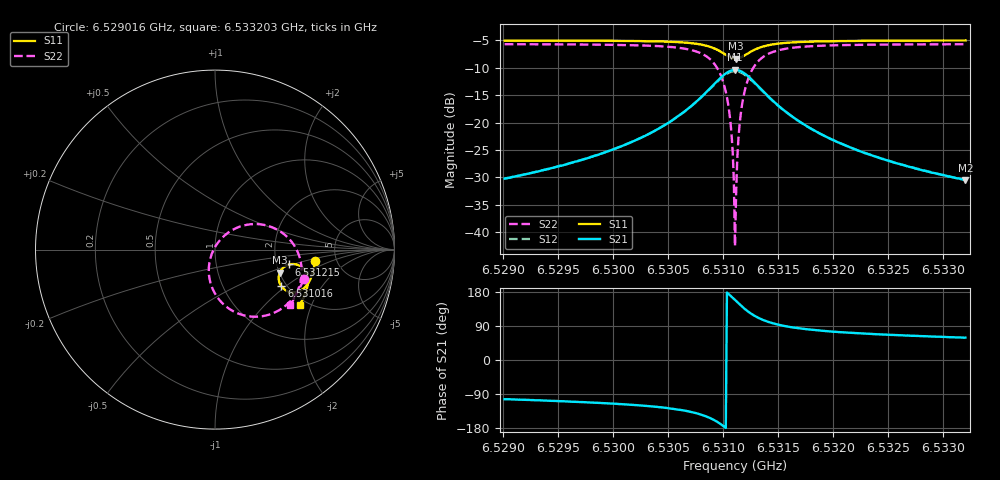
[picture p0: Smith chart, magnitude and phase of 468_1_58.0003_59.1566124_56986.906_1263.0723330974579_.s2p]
#  HZ  S  RI  R  50.00
! Rohde & Schwarz Vector Network Analyzer
! Rohde-Schwarz,ZNB20-2Port,1311601062101988,3.16
! Created: UTC 3/21/2024, 1:11:14 AM
! freq[Hz]  re:S11  im:S11  re:S21  im:S21  re:S12  im:S12  re:S22  im:S22
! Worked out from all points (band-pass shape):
!   401 points, 6.529016 GHz to 6.533203 GHz, reference 50 ohm
!   highest |S21| = -10.36 dB at 6.53111 GHz (marker M1); lowest = -30.5 dB at 6.533203 GHz (marker M2)
!   |S21| within 3 dB of the highest: 6.530902 GHz to 6.531321 GHz (418.8 kHz wide, 0.00641 % of centre)
!   lowest |S11| = -8.3 dB at 6.53112 GHz (marker M3), VSWR 2.24, Z = 100 - j30.2 ohm
!   |S11| at or under -10 dB: nowhere
!   |S22| runs from -42.6 to -5.7 dB; largest |S21 - S12| = 0.012
!   S11 on the Smith chart (normalised r, x): 6.529016 GHz: 3.44, -0.61; 6.531016 GHz: 1.87, -0.93; 6.531215 GHz: 2.34, -0.47; 6.533203 GHz: 1.82, -1.64
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6.5290163e9  0.5576 -0.0612  -0.00718 -0.0299  -0.00757 -0.0299  0.4934 -0.1647
6.5297177e9  0.5472 -0.1193  -0.0164 -0.0427  -0.0174 -0.0423  0.4629 -0.2296
6.530419e9  0.5186 -0.1882  -0.0497 -0.0731  -0.0518 -0.0718  0.3825 -0.3212
6.5306597e9  0.4916 -0.218  -0.0891 -0.0922  -0.0917 -0.0893  0.3027 -0.3621
6.5308377e9  0.4483 -0.237  -0.1563 -0.0986  -0.1586 -0.0924  0.1779 -0.3699
6.5309424e9  0.4042 -0.2317  -0.2249 -0.0726  -0.2243 -0.0634  0.0606 -0.3161
6.5310156e9  0.3698 -0.2047  -0.2756 -0.0149  -0.2701 -0.00533  -0.0167 -0.2108
6.5310575e9  0.3572 -0.1771  -0.2915 0.0375  -0.283 0.0453  -0.0348 -0.121
6.5310784e9  0.355 -0.161  -0.2922 0.0673  -0.2824 0.0734  -0.0311 -0.0721
6.5310889e9  0.3553 -0.1525  -0.2903 0.0821  -0.2803 0.0876  -0.0256 -0.0475
6.5310994e9  0.3564 -0.1442  -0.287 0.0974  -0.2765 0.1017  -0.0178 -0.0232
6.5311098e9  0.3583 -0.136  -0.282 0.112  -0.2715 0.1154  -0.00743 8.58e-05
6.5311203e9  0.3612 -0.128  -0.2758 0.1261  -0.2652 0.1287  0.00515 0.0226
6.5311308e9  0.365 -0.1204  -0.268 0.1395  -0.2576 0.1411  0.02 0.0432
6.5311412e9  0.3694 -0.1133  -0.2592 0.1521  -0.2489 0.1528  0.0364 0.0624
6.5311622e9  0.3802 -0.101  -0.2385 0.1738  -0.2291 0.1728  0.0738 0.0948
6.5312145e9  0.4131 -0.0829  -0.1786 0.2056  -0.1721 0.2027  0.178 0.1383
6.5312878e9  0.4556 -0.0834  -0.1038 0.2078  -0.1005 0.2047  0.3041 0.1295
6.5313925e9  0.4925 -0.1058  -0.0394 0.1769  -0.038 0.1755  0.4095 0.0635
6.5318112e9  0.5177 -0.1857  0.0159 0.0853  0.0167 0.0851  0.4828 -0.128
6.5325125e9  0.4981 -0.2569  0.0177 0.0409  0.0185 0.0408  0.4549 -0.2451
6.5332033e9  0.471 -0.3081  0.0152 0.0255  0.0159 0.0254  0.4199 -0.3065
